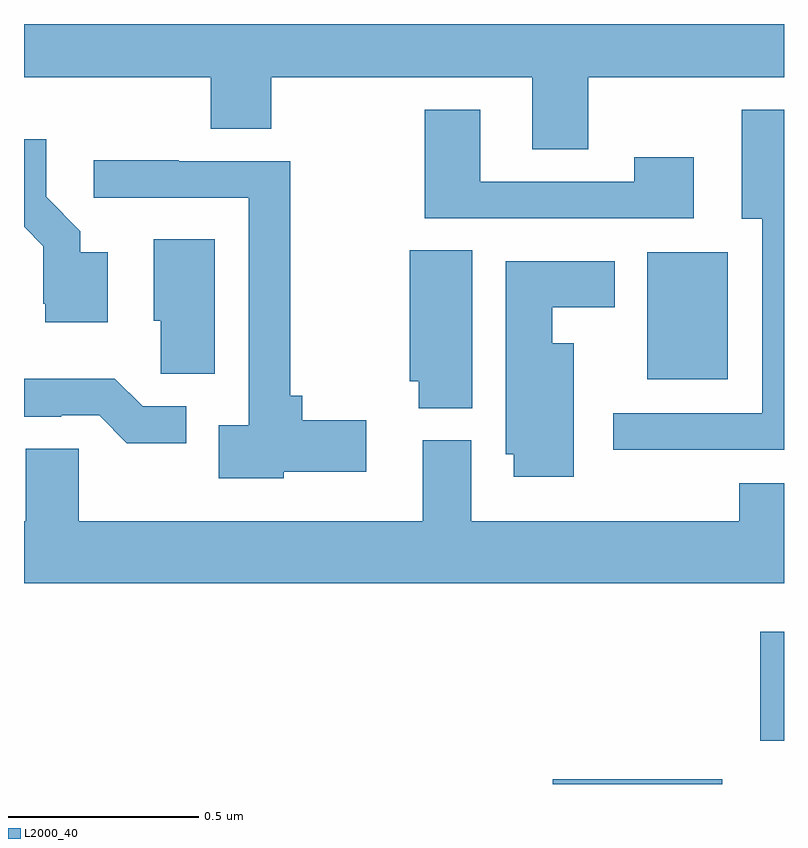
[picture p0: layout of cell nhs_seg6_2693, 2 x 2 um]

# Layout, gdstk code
import gdstk
lib = gdstk.Library(unit=1e-6, precision=1e-09)
def R(c, l, rs):  # rectangles x0, y0, x1, y1
    for r in rs: c.add(gdstk.rectangle(r[:2], r[2:], *l))
def P(c, l, *ps):  # polygons
    for p in ps: c.add(gdstk.Polygon(p, *l))
L2000_40 = (2000, 40)

nhs_seg6_2693 = lib.new_cell('nhs_seg6_2693')
R(nhs_seg6_2693, L2000_40, [(148.391,921.5,148.838,921.512), (148.937,921.614,149,921.901), (148.64,922.565,148.852,922.9)])
P(nhs_seg6_2693, L2000_40, [(148.485,923.36),(149,923.36),(149,923.5),(147,923.5),(147,923.36),(147.491,923.36),(147.491,923.224),(147.651,923.224),(147.651,923.36),(148.337,923.36),(148.337,923.17),(148.485,923.17)],
  [(149,923.275),(148.889,923.275),(148.889,922.988),(148.943,922.988),(148.943,922.476),(148.551,922.476),(148.551,922.379),(149,922.379)],
  [(148.762,923.149),(148.606,923.149),(148.606,923.085),(148.201,923.085),(148.201,923.275),(148.054,923.275),(148.054,922.989),(148.762,922.989)],
  [(147.22,922.9),(147.148,922.9),(147.148,922.955),(147.058,923.045),(147.058,923.197),(147,923.197),(147,922.966),(147.051,922.915),(147.051,922.764),(147.056,922.764),(147.056,922.715),(147.22,922.715)],
  [(147.684,922.322),(147.901,922.322),(147.901,922.457),(147.732,922.457),(147.732,922.522),(147.7,922.522),(147.7,923.139),(147.407,923.139),(147.407,923.142),(147.183,923.142),(147.183,923.043),(147.591,923.043),(147.591,922.444),(147.512,922.444),(147.512,922.304),(147.684,922.304)],
  [(147.502,922.933),(147.341,922.933),(147.341,922.719),(147.36,922.719),(147.36,922.579),(147.502,922.579)],
  [(148.18,922.904),(148.015,922.904),(148.015,922.56),(148.039,922.56),(148.039,922.489),(148.18,922.489)],
  [(148.447,922.66),(148.39,922.66),(148.39,922.754),(148.555,922.754),(148.555,922.876),(148.268,922.876),(148.268,922.368),(148.289,922.368),(148.289,922.308),(148.447,922.308)],
  [(147.427,922.494),(147.312,922.494),(147.239,922.567),(147,922.567),(147,922.467),(147.098,922.467),(147.098,922.47),(147.198,922.47),(147.271,922.397),(147.427,922.397)],
  [(149,922.291),(148.882,922.291),(148.882,922.192),(148.177,922.192),(148.177,922.404),(148.049,922.404),(148.049,922.192),(147.144,922.192),(147.144,922.382),(147.005,922.382),(147.005,922.192),(147,922.192),(147,922.028),(149,922.028)])

lib.write_gds('nhs_seg6_2693.gds')
